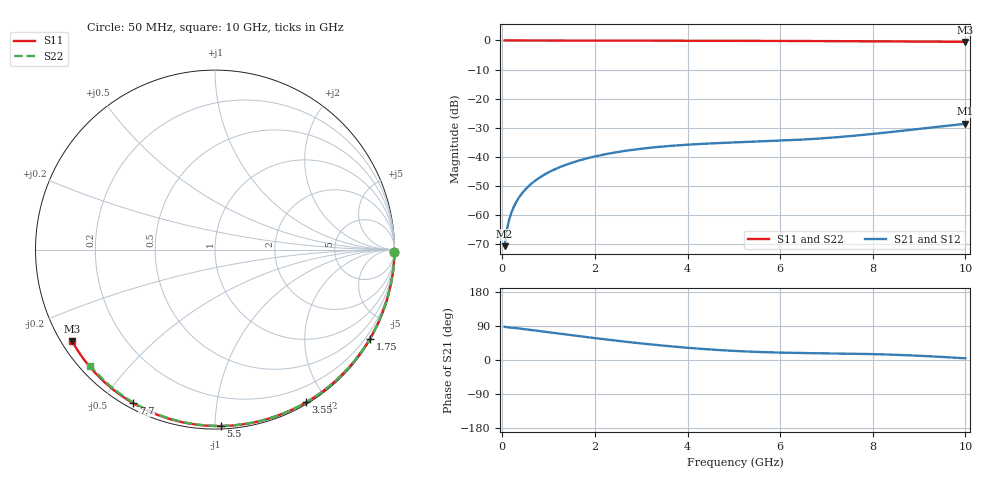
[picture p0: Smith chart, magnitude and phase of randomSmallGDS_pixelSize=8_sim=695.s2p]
! freq	dB(S11)	phase(S11)	dB(S12)	phase(S12)
!  dB(S21)	phase(S21)	dB(S22)	phase(S22)
!S-par simulation data
#  GHz  S  DB  R 50
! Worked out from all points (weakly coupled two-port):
!   200 points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, 50 MHz to 10 GHz, reference 50 ohm
!   highest |S21| = -28.68 dB at 10 GHz (marker M1); lowest = -70.8 dB at 50 MHz (marker M2)
!   lowest |S11| = -0.5 dB at 10 GHz (marker M3), VSWR 35.73, Z = 1.52 - j14.6 ohm
!   |S11| at or under -10 dB: nowhere
!   |S22| runs from -0.5 to 0.0 dB; largest |S21 - S12| = 0
!   S11 on the Smith chart (normalised r, x): 50 MHz: open; 1.75 GHz: 0.03, -3.73; 3.55 GHz: 0.02, -1.76; 5.5 GHz: 0.02, -1.03; 7.7 GHz: 0.02, -0.60; 10 GHz: 0.03, -0.29
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0.05  -0.00 -0.9  -70.82 87.6  -70.82 87.6  -0.00 -0.8
0.1  -0.00 -1.7  -64.98 86.5  -64.98 86.5  -0.00 -1.6
0.15  -0.00 -2.6  -61.55 85.9  -61.55 85.9  -0.00 -2.4
0.2  -0.00 -3.5  -59.11 85.4  -59.11 85.4  -0.00 -3.2
0.25  -0.00 -4.4  -57.20 84.7  -57.20 84.7  -0.00 -4.0
0.35  -0.00 -6.1  -54.32 83.4  -54.32 83.4  -0.00 -5.6
0.5  -0.01 -8.7  -51.26 81.1  -51.26 81.1  -0.01 -8.0
0.7  -0.01 -12.2  -48.39 78.0  -48.39 78.0  -0.01 -11.2
1  -0.02 -17.3  -45.39 73.2  -45.39 73.2  -0.02 -16.0
1.35  -0.03 -23.3  -42.94 67.7  -42.94 67.7  -0.03 -21.5
1.75  -0.04 -30.0  -40.91 61.5  -40.91 61.5  -0.04 -27.7
2.5  -0.05 -42.4  -38.39 50.5  -38.39 50.5  -0.05 -39.3
3.4  -0.08 -56.8  -36.61 38.8  -36.61 38.8  -0.07 -52.7
3.55  -0.08 -59.2  -36.40 37.0  -36.40 37.0  -0.07 -54.9
4.3  -0.10 -70.7  -35.61 29.4  -35.61 29.4  -0.09 -65.6
5.05  -0.13 -81.8  -35.08 23.7  -35.08 23.7  -0.12 -76.0
5.5  -0.14 -88.2  -34.82 21.3  -34.82 21.3  -0.13 -82.0
6.7  -0.20 -104.8  -33.91 18.0  -33.91 18.0  -0.19 -97.5
7.7  -0.27 -118.0  -32.65 16.3  -32.65 16.3  -0.25 -109.9
8.35  -0.32 -126.4  -31.59 14.3  -31.59 14.3  -0.30 -117.7
9.2  -0.40 -137.2  -30.10 10.0  -30.10 10.0  -0.37 -127.7
10  -0.49 -147.4  -28.68 4.5  -28.68 4.5  -0.45 -137.0
